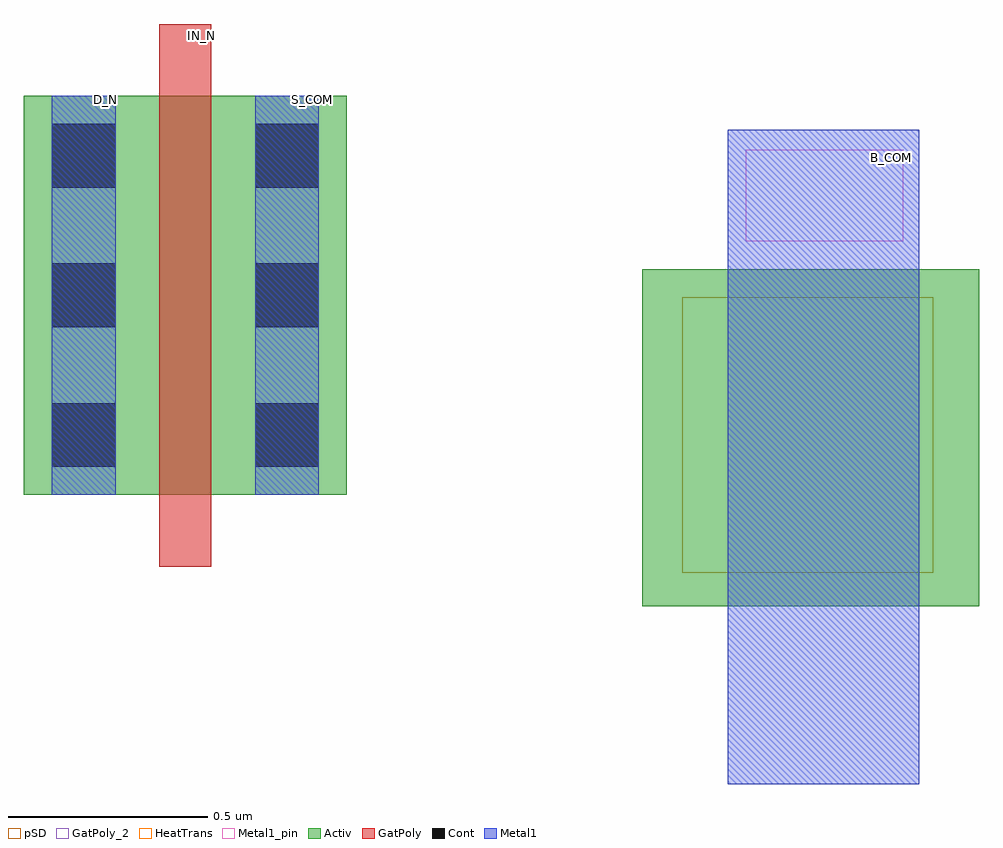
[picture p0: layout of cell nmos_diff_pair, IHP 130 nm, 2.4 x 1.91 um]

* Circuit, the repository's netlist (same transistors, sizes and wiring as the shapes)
* Extracted by KLayout with SG13G2 LVS runset on : 26/11/2026 15:57

.SUBCKT TOP
M$1 \$2 \$4 \$3 \$1 sg13_lv_nmos L=0.13u W=1u AS=0.34p AD=0.34p PS=2.68u
+ PD=2.68u rfmode=0
.ENDS TOP

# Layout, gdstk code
import gdstk
lib = gdstk.Library(unit=1e-6, precision=1e-09)
def R(c, l, rs):  # rectangles x0, y0, x1, y1
    for r in rs: c.add(gdstk.rectangle(r[:2], r[2:], *l))
def A(c, l, x, y, w, h, nx, ny, dx, dy):  # array of equal rectangles
    R(c, l, [(x+i*dx, y+j*dy, x+i*dx+w, y+j*dy+h) for i in range(nx) for j in range(ny)])
Activ = (1, 0)
GatPoly = (5, 0)
GatPoly_2 = (5, 2)
Cont = (6, 0)
Metal1 = (8, 0)
Metal1_pin = (8, 2)
pSD = (14, 0)
HeatTrans = (51, 0)

nmos_1 = lib.new_cell('nmos$1')
R(nmos_1, Activ, [(0,0,0.3,0.3), (0,0,0.81,1), (0.51,0,0.81,0.3)])
R(nmos_1, GatPoly, [(0.34,-0.18,0.47,1.18)])
R(nmos_1, GatPoly_2, [(0.34,-0.18,0.47,1.18)])
A(nmos_1, Cont, 0.07, 0.07, 0.16, 0.16, 1, 3, 0, 0.35)
A(nmos_1, Cont, 0.58, 0.07, 0.16, 0.16, 1, 3, 0, 0.35)
R(nmos_1, Metal1, [(0.07,0,0.23,1), (0.58,0,0.74,1)])
R(nmos_1, Metal1_pin, [(0.07,0,0.23,1), (0.58,0,0.74,1)])
R(nmos_1, HeatTrans, [(0.34,-0.18,0.47,1.18)])
nmos_1.add(gdstk.Label('nmos', (0.405,0.5), layer=63, texttype=0))
nmos_1.add(gdstk.Label('nmos', (0.405,0.5), layer=51, texttype=0))

nmos_diff_pair = lib.new_cell('nmos_diff_pair')
R(nmos_diff_pair, Activ, [(1.18,-0.12,2.025,0.725)])
R(nmos_diff_pair, Metal1, [(1.395,-0.565,1.875,1.075), (1.55,0.235,1.71,0.395)])
R(nmos_diff_pair, Metal1_pin, [(1.44,0.795,1.835,1.025)])
R(nmos_diff_pair, pSD, [(1.28,-0.035,1.91,0.655)])
nmos_diff_pair.add(gdstk.Reference(nmos_1, (-0.37,0.16)))
nmos_diff_pair.add(gdstk.Label('D_N', (-0.165,1.15), layer=8, texttype=2))
nmos_diff_pair.add(gdstk.Label('S_COM', (0.355,1.15), layer=8, texttype=2))
nmos_diff_pair.add(gdstk.Label('B_COM', (1.805,1.005), layer=8, texttype=2))
nmos_diff_pair.add(gdstk.Label('IN_N', (0.075,1.31), layer=5, texttype=2))

lib.write_gds('nmos_diff_pair.gds')
